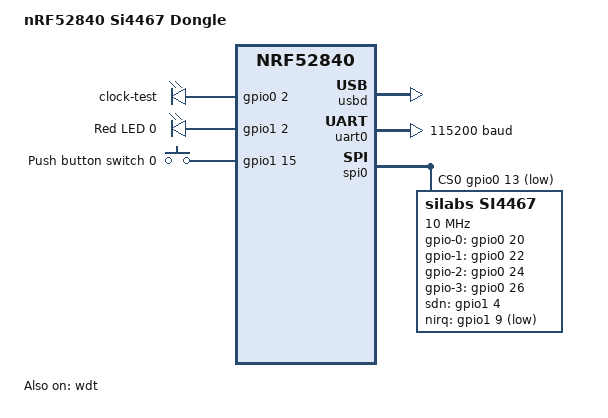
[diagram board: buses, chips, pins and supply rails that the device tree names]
/*
 * SPDX-FileCopyrightText: Copyright (c) 2023 GARDENA GmbH
 * SPDX-License-Identifier: GPL-3.0-or-later
 */

/dts-v1/;
#include <nordic/nrf52840_qiaa.dtsi>
#include "dongle_nrf52840-pinctrl.dtsi"

/ {
	model = "nRF52840 Si4467 Dongle";
	compatible = "Gardena,dongle-nrf52840";

	chosen {
		zephyr,console = &cdc_acm_uart0;
		zephyr,shell-uart = &cdc_acm_uart0;
		zephyr,uart-mcumgr = &cdc_acm_uart0;
		zephyr,sram = &sram0;
		zephyr,flash = &flash0;
		zephyr,code-partition = &slot0_partition;
	};

	/*
	 * The following LEDs and buttons exist on all revisions, but are not controlled by the
	 * nRF52840:
	 * - reset button directly controls reset
	 * - power LED is connected to USB VBUS
	 * - RX/TX LEDs are controlled by Si4467
	 *
	 * On revision 0.4.0 and later, there is additional hardware:
	 * - application LED connected to nRF52840
	 * - user button connected to nRF52840
	 *
	 * Since earlier revisions were manufactured only in small batches (5 pieces each) and the
	 * corresponding pins are not connected, there is no need for separate board revisions in
	 * Zephyr and we keep it all in this file.
	 */

	gpio_clock_test {
		compatible = "gpio-leds";
		clock_test_pin0: clock_test0 {
			gpios = <&gpio0 2 GPIO_ACTIVE_HIGH>;
			label = "clock-test";
		};
	};

	leds {
		compatible = "gpio-leds";
		led0: led_0 {
			gpios = <&gpio1 2 GPIO_ACTIVE_HIGH>;
			label = "Red LED 0";
		};
	};

	buttons {
		compatible = "gpio-keys";
		button0: button_0 {
			gpios = <&gpio1 15 GPIO_ACTIVE_HIGH>;
			label = "Push button switch 0";
			zephyr,code = <INPUT_KEY_0>;
		};
	};

	aliases {
		clock-test-pin = &clock_test_pin0;
		app-led = &led0;
		user-button = &button0;

		/*
		 * The following aliases are provided for compatibility with samples (e.g. blinky &
		 * button samples).
		 */
		led0 = &led0;
		sw0 = &button0;
	};

};

zephyr_udc0: &usbd {
	compatible = "nordic,nrf-usbd";
	status = "okay";

	cdc_acm_uart0: cdc_acm_uart0 {
		compatible = "zephyr,cdc-acm-uart";
	};
};

&uicr {
	gpio-as-nreset;
};

&wdt {
	status = "okay";
};

&adc {
	status = "disabled";
};

&gpiote {
	status = "okay";
};

&gpio0 {
	status = "okay";
};

&gpio1 {
	status = "okay";
};

/*
 * UART via GPIOs for use with MicroJig
 *
 * To enable, use DTC_OVERLAY_FILE 'gpio-uart.overlay'.
 */

&uart0 {
	compatible = "nordic,nrf-uarte";
	status = "okay";
	current-speed = <115200>;
	pinctrl-0 = <&uart0_default>;
	pinctrl-1 = <&uart0_sleep>;
	pinctrl-names = "default", "sleep";
};

&spi0 {
	compatible = "nordic,nrf-spim";
	status = "okay";
	cs-gpios = <&gpio0 13 GPIO_ACTIVE_LOW>; /* Si4467 */
	pinctrl-0 = <&spi0_default>;
	pinctrl-1 = <&spi0_sleep>;
	pinctrl-names = "default", "sleep";
	si4467: spi-dev-si4467@0 {
		compatible = "silabs,si4467";
		spi-max-frequency = <10000000>; /* Si4467 max 10 MHz */
		xtal-frequency = <26000000>;
		/*
		 * The ideal XO tune value for the 26 MHz crystal on the dongle varies between
		 * about 32 and 38. Since we do not do per-device calibration, a default of about
		 * 35 is sensible and should keep the frequency within about ±5 ppm of 26 MHz
		 * (with the default of 42, we are about ±10 ppm off).
		 */
		xtal-capacitor-tune-value = <35>;
		/*
		 * The following value was determined using a signal generator to evaluate the
		 * power across all relevant channels and amplitudes.
		 */
		rx-rssi-offset = <(-3)>;
		reg = <0>;
		gpio-0-gpios = <&gpio0 20 GPIO_ACTIVE_HIGH>;
		gpio-1-gpios = <&gpio0 22 GPIO_ACTIVE_HIGH>;
		gpio-2-gpios = <&gpio0 24 GPIO_ACTIVE_HIGH>;
		gpio-3-gpios = <&gpio0 26 GPIO_ACTIVE_HIGH>;

		sdn-gpios = <&gpio1 4 GPIO_ACTIVE_HIGH>;
		nirq-gpios = <&gpio1 9 GPIO_ACTIVE_LOW>;

		/* rx-enable-gpios = n/a */
		/* tx-enable-gpios = n/a */
		/* nirq-handling-gpios = n/a */
	};
};

&flash0 {
	partitions {
		compatible = "fixed-partitions";
		#address-cells = <1>;
		#size-cells = <1>;

		boot_partition: partition@0 {
			label = "mcuboot";
			reg = <0x000000000 0x00010000>;
		};
		slot0_partition: partition@10000 {
			label = "image-0";
			reg = <0x000010000 0x0000e8000>;
		};

		/*
		 * The flash starting at 0x000f8000 and ending at
		 * 0x000fffff is reserved for use by the application.
		 */

		/* 28 kBytes for (user) settings */
		storage_partition: partition@f8000 {
			label = "storage";
			reg = <0x000f8000 0x00007000>;
		};

		/* 1 page (4k) for factory data */
		factory_partition: partition@ff000 {
			label = "factory";
			reg = <0x000ff000 0x00001000>;
		};
	};
};
